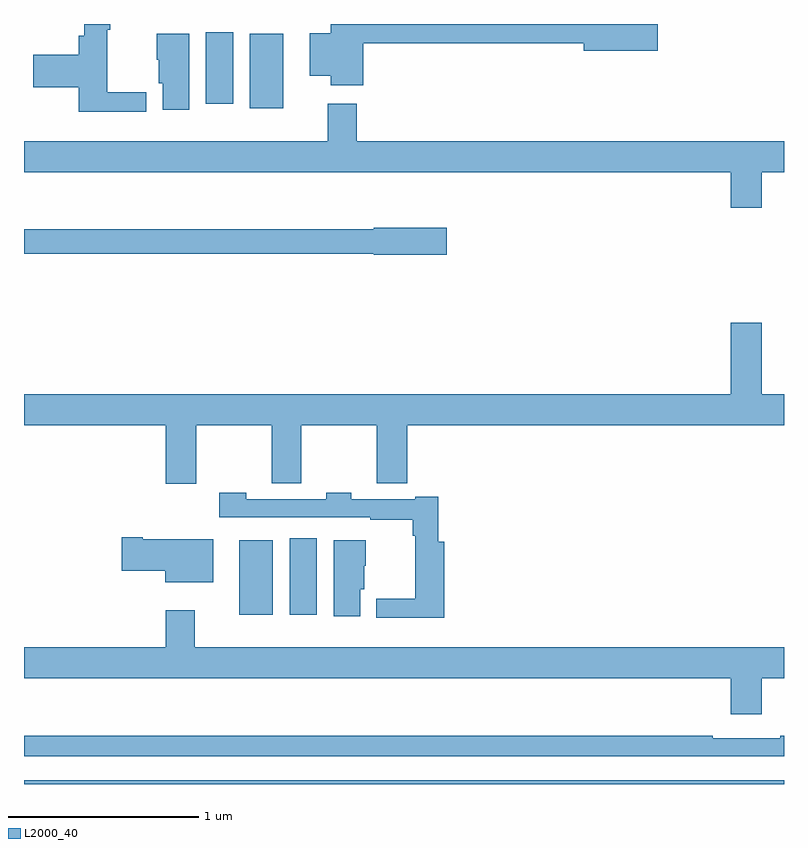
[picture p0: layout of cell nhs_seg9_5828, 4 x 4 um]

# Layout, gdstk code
import gdstk
lib = gdstk.Library(unit=1e-6, precision=1e-09)
def R(c, l, rs):  # rectangles x0, y0, x1, y1
    for r in rs: c.add(gdstk.rectangle(r[:2], r[2:], *l))
def P(c, l, *ps):  # polygons
    for p in ps: c.add(gdstk.Polygon(p, *l))
L2000_40 = (2000, 40)

nhs_seg9_5828 = lib.new_cell('nhs_seg9_5828')
R(nhs_seg9_5828, L2000_40, [(449,1226.5,453,1226.52), (450.134,1227.392,450.31,1227.784), (450.398,1227.392,450.541,1227.793), (450.188,1230.056,450.364,1230.448), (449.957,1230.081,450.1,1230.457)])
P(nhs_seg9_5828, L2000_40, [(449.644,1230.14),(449.438,1230.14),(449.438,1230.47),(449.453,1230.47),(449.453,1230.5),(449.317,1230.5),(449.317,1230.439),(449.288,1230.439),(449.288,1230.338),(449.049,1230.338),(449.049,1230.167),(449.288,1230.167),(449.288,1230.038),(449.644,1230.038)],
  [(450.785,1230.4),(451.946,1230.4),(451.946,1230.358),(452.335,1230.358),(452.335,1230.5),(450.614,1230.5),(450.614,1230.451),(450.503,1230.451),(450.503,1230.227),(450.614,1230.227),(450.614,1230.177),(450.785,1230.177)],
  [(449.869,1230.448),(449.699,1230.448),(449.699,1230.312),(449.708,1230.312),(449.708,1230.189),(449.729,1230.189),(449.729,1230.048),(449.869,1230.048)],
  [(452.884,1229.72),(453,1229.72),(453,1229.884),(450.752,1229.884),(450.752,1230.079),(450.599,1230.079),(450.599,1229.884),(449,1229.884),(449,1229.72),(452.72,1229.72),(452.72,1229.532),(452.884,1229.532)],
  [(451.225,1229.427),(450.84,1229.427),(450.84,1229.419),(449,1229.419),(449,1229.29),(450.84,1229.29),(450.84,1229.285),(451.225,1229.285)],
  [(449,1228.388),(449.747,1228.388),(449.747,1228.08),(449.907,1228.08),(449.907,1228.388),(450.304,1228.388),(450.304,1228.084),(450.458,1228.084),(450.458,1228.388),(450.856,1228.388),(450.856,1228.084),(451.016,1228.084),(451.016,1228.388),(453,1228.388),(453,1228.552),(452.884,1228.552),(452.884,1228.927),(452.72,1228.927),(452.72,1228.552),(449,1228.552)],
  [(451.211,1227.775),(451.181,1227.775),(451.181,1228.012),(451.058,1228.012),(451.058,1227.999),(450.723,1227.999),(450.723,1228.032),(450.591,1228.032),(450.591,1227.999),(450.171,1227.999),(450.171,1228.032),(450.027,1228.032),(450.027,1227.903),(450.823,1227.903),(450.823,1227.891),(451.045,1227.891),(451.045,1227.806),(451.06,1227.806),(451.06,1227.476),(450.855,1227.476),(450.855,1227.374),(451.211,1227.374)],
  [(449.995,1227.787),(449.626,1227.787),(449.626,1227.8),(449.514,1227.8),(449.514,1227.622),(449.744,1227.622),(449.744,1227.563),(449.995,1227.563)],
  [(450.769,1227.525),(450.79,1227.525),(450.79,1227.648),(450.799,1227.648),(450.799,1227.784),(450.629,1227.784),(450.629,1227.384),(450.769,1227.384)],
  [(452.884,1227.056),(453,1227.056),(453,1227.22),(449.899,1227.22),(449.899,1227.415),(449.747,1227.415),(449.747,1227.22),(449,1227.22),(449,1227.056),(452.72,1227.056),(452.72,1226.868),(452.884,1226.868)],
  [(453,1226.755),(452.98,1226.755),(452.98,1226.742),(452.624,1226.742),(452.624,1226.755),(449,1226.755),(449,1226.646),(453,1226.646)])

lib.write_gds('nhs_seg9_5828.gds')
